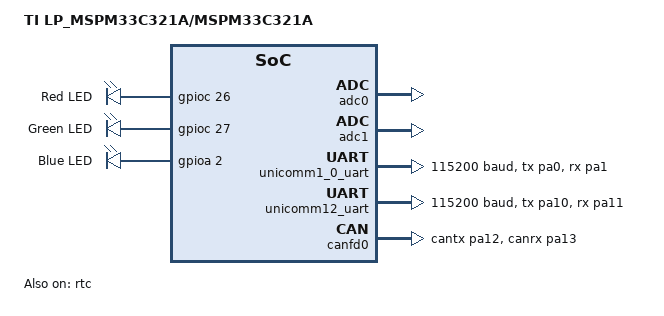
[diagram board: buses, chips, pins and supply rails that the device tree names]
/*
 * Copyright (c) 2025 Texas Instruments
 *
 * SPDX-License-Identifier: Apache-2.0
 */

/dts-v1/;

#include <ti/mspm33/mspm33c321a.dtsi>
#include <ti/mspm33/c/mspm33c321a-pinctrl.dtsi>
#include <zephyr/dt-bindings/clock/msp_clock.h>
#include <zephyr/dt-bindings/gpio/gpio.h>

/ {
	model = "TI LP_MSPM33C321A/MSPM33C321A";
	compatible = "ti,mspm33c321a";

	aliases {
		led0 = &led0;
		led1 = &led1;
		led2 = &led2;
		rtc = &rtc;
	};

	chosen {
		zephyr,sram = &sram0;
		zephyr,flash = &flash0;
		zephyr,console = &unicomm12_uart;
		zephyr,shell-uart = &unicomm12_uart;
		zephyr,canbus = &canfd0;
	};

	leds {
    		compatible = "gpio-leds";

    		led0: led_0 {
      			gpios = <&gpioc 26 GPIO_ACTIVE_HIGH>;
      			label = "Red LED";
   		};

		led1: led_1 {
			gpios = <&gpioc 27 GPIO_ACTIVE_HIGH>;
			label = "Green LED";
		};

		led2: led_2 {
			gpios = <&gpioa 2 GPIO_ACTIVE_HIGH>;
			label = "Blue LED";
		};
  	};
};

&cpu0 {
	clock-frequency = <DT_FREQ_M(160)>;
};


&ulpclk {
	status = "okay";
	clock-frequency = <DT_FREQ_M(40)>;
};

&mclk {
	status = "okay";
	clock-frequency = <DT_FREQ_M(160)>;
	clocks = <&hsclk 0>;
};

&mclkby2 {
	status = "okay";
};

&hsclk {
	status = "okay";
	clocks = <&syspll 0>;
};

&syspll {
	status = "okay";
};

&pll {
	status = "okay";
};

&hfclk {
	status = "disabled";
};

&mfclk {
	status = "disabled";
};

&lfclk {
	status = "okay";
	clocks = <&lfosc 0>;
};

&hfxt {
	status = "disabled";
	clock-frequency = <DT_FREQ_M(40)>;  /* 40MHz crystal */
	ti,xtal-startup-delay-us = <512>;
	ti,monitor-enable = <1>;       /* Enable clock monitoring */
};

&lfxt {
	status = "disabled";
	ti,low-cap;                    /* Enable low capacitance mode */
	ti,drive-strength = <3>;       /* Use higher drive strength */
	ti,monitor-enable = <1>;       /* Enable clock monitoring */
};


&pinctrl {
	status = "okay";
};

&sram0 {
	status = "okay";
};

&flash0 {
	status = "okay";
};

&gpioa {
	status = "okay";
};

&gpiob {
	status = "okay";
};

&gpioc {
	status = "okay";
};

&adc0 {
	status = "okay";
};

&adc1 {
	status = "okay";
};

&unicomm1_0_uart {
	status = "okay";

	current-speed = <115200>;
	pinctrl-0 = <&uc1_0_tx_pa0 &uc1_0_rx_pa1>;
	pinctrl-names = "default";
};

/* Primary UART for console and shell */
&unicomm12_uart {
	status = "okay";

	current-speed = <115200>;
	pinctrl-0 = <&uc12_tx_pa10 &uc12_rx_pa11>;
	pinctrl-names = "default";
};

&rtc {
	status = "okay";
};

&canclk {
	clocks = <&syspll 0>;
	clock-frequency = <DT_FREQ_M(80)>;
	status = "okay";
};

&canfd0 {
	status = "okay";
	clock-frequency = <DT_FREQ_M(80)>;
	pinctrl-0 = <&canfd0_cantx_pa12 &canfd0_canrx_pa13>;
	pinctrl-names = "default";
};
